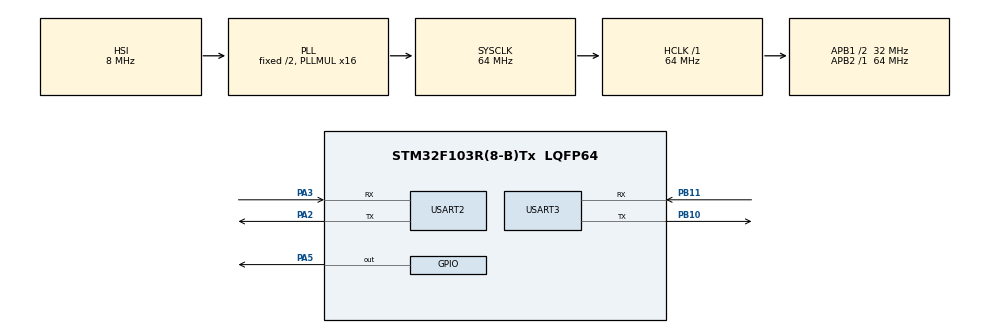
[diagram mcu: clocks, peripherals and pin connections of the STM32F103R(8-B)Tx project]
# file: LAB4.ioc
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Mcu.Family=STM32F1
Mcu.Name=STM32F103R(8-B)Tx
Mcu.Package=LQFP64
NVIC.PriorityGroup=NVIC_PRIORITYGROUP_4
NVIC.USART3_IRQn=true\:0\:0\:false\:false\:true\:true\:true
PA13.Mode=Serial_Wire
PA13.Signal=SYS_JTMS-SWDIO
PA14.Mode=Serial_Wire
PA14.Signal=SYS_JTCK-SWCLK
PA2.Mode=Asynchronous
PA2.Signal=USART2_TX
PA3.Mode=Asynchronous
PA3.Signal=USART2_RX
PA5.Signal=GPIO_Output
PB10.Mode=Asynchronous
PB10.Signal=USART3_TX
PB11.Mode=Asynchronous
PB11.Signal=USART3_RX
ProjectManager.HeapSize=0x200
ProjectManager.StackSize=0x400
ProjectManager.TargetToolchain=STM32CubeIDE
RCC.AHBFreq_Value=64000000
RCC.APB1CLKDivider=RCC_HCLK_DIV2
RCC.APB1Freq_Value=32000000
RCC.APB1TimFreq_Value=64000000
RCC.APB2Freq_Value=64000000
RCC.APB2TimFreq_Value=64000000
RCC.HCLKFreq_Value=64000000
RCC.PLLMUL=RCC_PLL_MUL16
RCC.SYSCLKFreq_VALUE=64000000
RCC.SYSCLKSource=RCC_SYSCLKSOURCE_PLLCLK
RCC.USBFreq_Value=64000000
USART2.VirtualMode=VM_ASYNC
USART3.VirtualMode=VM_ASYNC
VP_TIM4_VS_ClockSourceINT.Mode=Internal
board=custom

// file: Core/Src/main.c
/* USER CODE BEGIN Header */
/**
  ******************************************************************************
  * @file           : main.c
  * @brief          : Main program body
  ******************************************************************************
  * @attention
  *
  * <h2><center>&copy; Copyright (c) 2020 STMicroelectronics.
  * All rights reserved.</center></h2>
  *
  * This software component is licensed by ST under BSD 3-Clause license,
  * the "License"; You may not use this file except in compliance with the
  * License. You may obtain a copy of the License at:
  *                        opensource.org/licenses/BSD-3-Clause
  *
  ******************************************************************************
  */
/* USER CODE END Header */

#include "main.h"

TIM_HandleTypeDef htim4;

UART_HandleTypeDef huart2;
UART_HandleTypeDef huart3;

/* USER CODE BEGIN PV */

uint8_t cliBufferTx[240];
uint8_t cliBufferRx[20];
uint8_t test[20];
uint8_t word[20];
uint8_t enter[2];
uint8_t next = '>';
char leds[] = "leds";
char query[] = "query";
char help[] = "help";
char timer[] = "timer";

/* USER CODE END PV */

void SystemClock_Config(void);
static void MX_GPIO_Init(void);
static void MX_TIM4_Init(void);
static void MX_USART3_UART_Init(void);
static void MX_USART2_UART_Init(void);

/* USER CODE BEGIN 0 */
volatile uint32_t count = 0;
/* USER CODE END 0 */

int main(void)
{
  /* USER CODE BEGIN 1 */
	_Bool status = 0;
  /* USER CODE END 1 */

  /* MCU Configuration--------------------------------------------------------*/

  /* Reset of all peripherals, Initializes the Flash interface and the Systick. */
  HAL_Init();

  /* Configure the system clock */
  SystemClock_Config();

  /* Initialize all configured peripherals */
  MX_GPIO_Init();
  MX_TIM4_Init();
  MX_USART3_UART_Init();
  MX_USART2_UART_Init();
  /* USER CODE BEGIN 2 */
  uint16_t timecount;

  /* USER CODE END 2 */

  /* Infinite loop */
  /* USER CODE BEGIN WHILE */

  strcpy((char*)cliBufferTx, "Type 'leds' to turn on/off LED, Type 'query' for state of LED, Type 'timer' for timing test code, 'help' for help\r\n>");
  HAL_UART_Transmit ( &huart3, cliBufferTx, strlen((char*) cliBufferTx), 1000);
  memset(cliBufferTx, 0, sizeof(cliBufferTx));
  HAL_TIM_Base_Start(&htim4);
  int i = 0;
  while (1)
  {
    /* USER CODE END WHILE */

    /* USER CODE BEGIN 3 */

	  if((HAL_UART_Receive( &huart3, cliBufferRx, 1, 1000) == HAL_OK))
	 	  {

		  	  //char echo = (char*) cliBufferRx[0];
		  	 HAL_UART_Transmit ( &huart3, cliBufferRx, 1, 1000);

		  	 if((strcmp((char*)cliBufferRx[0], '\r')) != 0)
		  	 {
		  		 cliBufferTx[i] = cliBufferRx[0];
		  		 i++;
		  	 }

	 		 if((strcmp((char*)cliBufferRx[0], '\r')) == 0)
	 		 {
	 			//HAL_GPIO_TogglePin(GPIOA, GPIO_PIN_5);
	 			enter[0] = '\r';
	 			enter[1] = '\n';
	 			enter[2] = '>';
	 			HAL_UART_Transmit ( &huart3, enter, 3, 1000);

	 			 i = 0;
				 strcpy((char*)test, (char*)cliBufferTx);

				  if((strcmp((char*)test, (char*)leds)) == 0)
				  {
					  if(status == 0)
					  {
						  HAL_GPIO_WritePin (GPIOA, GPIO_PIN_5, GPIO_PIN_SET);
						  HAL_UART_Transmit ( &huart3, "Leds on\r\n>", 12, 1000);
						  status = 1;
						  }
					  else
					  {
						  HAL_GPIO_WritePin (GPIOA, GPIO_PIN_5, GPIO_PIN_RESET);
						  HAL_UART_Transmit ( &huart3, "Leds off\r\n>", 12, 1000);
						  status = 0;

					  }

				  }
				  else if ((strcmp((char*)test, (char*)query)) == 0)
				  {
					  if(status == 0)
					  {
						  HAL_UART_Transmit ( &huart3, "Led is turned off\r\n>", 20, 1000);
					  }
					  else
					  {
						  HAL_UART_Transmit ( &huart3, "Led is turned on\r\n>", 20, 1000);
					  }

				  }
				  else if ((strcmp((char*)test, (char*)help)) == 0)
				  {
					  strcpy((char*)cliBufferTx, "Type 'leds' to turn on/off LED, Type 'query' for state of LED, Type 'timer' for timing test code, 'help' for help\r\n"
							  "Make sure all small caps, The user can only write/read four "
							  "letters at a time make sure thier correctly spelled.\r\n>");
					  HAL_UART_Transmit ( &huart3, cliBufferTx, strlen((char*) cliBufferTx), 1000);

				  }
				  else if ((strcmp((char*)test, (char*)timer)) == 0)
				  {
					  averageTimeTester();
				  }
				  else
				  {
					  strcpy((char*)cliBufferTx, "Wrong word, type 'help' \r\n>");
					  HAL_UART_Transmit ( &huart3, cliBufferTx, strlen((char*) cliBufferTx), 1000);
				  }

				  memset(cliBufferTx, 0, sizeof(cliBufferTx));

			  }
	 	  }

  }
  /* USER CODE END 3 */
}

void SystemClock_Config(void)
{
  RCC_OscInitTypeDef RCC_OscInitStruct = {0};
  RCC_ClkInitTypeDef RCC_ClkInitStruct = {0};

  /** Initializes the CPU, AHB and APB busses clocks
  */
  RCC_OscInitStruct.OscillatorType = RCC_OSCILLATORTYPE_HSI;
  RCC_OscInitStruct.HSIState = RCC_HSI_ON;
  RCC_OscInitStruct.HSICalibrationValue = RCC_HSICALIBRATION_DEFAULT;
  RCC_OscInitStruct.PLL.PLLState = RCC_PLL_ON;
  RCC_OscInitStruct.PLL.PLLSource = RCC_PLLSOURCE_HSI_DIV2;
  RCC_OscInitStruct.PLL.PLLMUL = RCC_PLL_MUL16;
  if (HAL_RCC_OscConfig(&RCC_OscInitStruct) != HAL_OK)
  {
    Error_Handler();
  }
  /** Initializes the CPU, AHB and APB busses clocks
  */
  RCC_ClkInitStruct.ClockType = RCC_CLOCKTYPE_HCLK|RCC_CLOCKTYPE_SYSCLK
                              |RCC_CLOCKTYPE_PCLK1|RCC_CLOCKTYPE_PCLK2;
  RCC_ClkInitStruct.SYSCLKSource = RCC_SYSCLKSOURCE_PLLCLK;
  RCC_ClkInitStruct.AHBCLKDivider = RCC_SYSCLK_DIV1;
  RCC_ClkInitStruct.APB1CLKDivider = RCC_HCLK_DIV2;
  RCC_ClkInitStruct.APB2CLKDivider = RCC_HCLK_DIV1;

  if (HAL_RCC_ClockConfig(&RCC_ClkInitStruct, FLASH_LATENCY_2) != HAL_OK)
  {
    Error_Handler();
  }
}

static void MX_TIM4_Init(void)
{

  TIM_ClockConfigTypeDef sClockSourceConfig = {0};
  TIM_MasterConfigTypeDef sMasterConfig = {0};

  htim4.Instance = TIM4;
  htim4.Init.Prescaler = 0;
  htim4.Init.CounterMode = TIM_COUNTERMODE_UP;
  htim4.Init.Period = 0;
  htim4.Init.ClockDivision = TIM_CLOCKDIVISION_DIV1;
  htim4.Init.AutoReloadPreload = TIM_AUTORELOAD_PRELOAD_DISABLE;
  if (HAL_TIM_Base_Init(&htim4) != HAL_OK)
  {
    Error_Handler();
  }
  sClockSourceConfig.ClockSource = TIM_CLOCKSOURCE_INTERNAL;
  if (HAL_TIM_ConfigClockSource(&htim4, &sClockSourceConfig) != HAL_OK)
  {
    Error_Handler();
  }
  sMasterConfig.MasterOutputTrigger = TIM_TRGO_RESET;
  sMasterConfig.MasterSlaveMode = TIM_MASTERSLAVEMODE_DISABLE;
  if (HAL_TIMEx_MasterConfigSynchronization(&htim4, &sMasterConfig) != HAL_OK)
  {
    Error_Handler();
  }

}

static void MX_USART2_UART_Init(void)
{

  huart2.Instance = USART2;
  huart2.Init.BaudRate = 115200;
  huart2.Init.WordLength = UART_WORDLENGTH_8B;
  huart2.Init.StopBits = UART_STOPBITS_1;
  huart2.Init.Parity = UART_PARITY_NONE;
  huart2.Init.Mode = UART_MODE_TX_RX;
  huart2.Init.HwFlowCtl = UART_HWCONTROL_NONE;
  huart2.Init.OverSampling = UART_OVERSAMPLING_16;
  if (HAL_UART_Init(&huart2) != HAL_OK)
  {
    Error_Handler();
  }

}

static void MX_USART3_UART_Init(void)
{

  huart3.Instance = USART3;
  huart3.Init.BaudRate = 115200;
  huart3.Init.WordLength = UART_WORDLENGTH_8B;
  huart3.Init.StopBits = UART_STOPBITS_1;
  huart3.Init.Parity = UART_PARITY_NONE;
  huart3.Init.Mode = UART_MODE_TX_RX;
  huart3.Init.HwFlowCtl = UART_HWCONTROL_NONE;
  huart3.Init.OverSampling = UART_OVERSAMPLING_16;
  if (HAL_UART_Init(&huart3) != HAL_OK)
  {
    Error_Handler();
  }

}

static void MX_GPIO_Init(void)
{
  GPIO_InitTypeDef GPIO_InitStruct = {0};

  /* GPIO Ports Clock Enable */
  __HAL_RCC_GPIOA_CLK_ENABLE();
  __HAL_RCC_GPIOB_CLK_ENABLE();

  /*Configure GPIO pin Output Level */
  HAL_GPIO_WritePin(GPIOA, GPIO_PIN_5, GPIO_PIN_RESET);

  /*Configure GPIO pin : PA5 */
  GPIO_InitStruct.Pin = GPIO_PIN_5;
  GPIO_InitStruct.Mode = GPIO_MODE_OUTPUT_PP;
  GPIO_InitStruct.Pull = GPIO_NOPULL;
  GPIO_InitStruct.Speed = GPIO_SPEED_FREQ_LOW;
  HAL_GPIO_Init(GPIOA, &GPIO_InitStruct);

}

/* USER CODE BEGIN 4 */

void averageTimeTester()
{

	int a = 0;
	int16_t add32Start, add32Stop;
	int32_t add32 = 0;
	int16_t add64Start, add64Stop;
	int32_t add64 = 0;
	int16_t mult32Start, mult32Stop;
	int32_t mult32 = 0;
	int16_t mult64Start, mult64Stop;
	int32_t mult64 = 0;
	int16_t div32Start, div32Stop;
	int32_t div32 = 0;
	int16_t div64Start, div64Stop;
	int32_t div64 = 0;
	int16_t struct8Start, struct8Stop;
	int32_t struct8 = 0;
	int16_t struct128Start, struct128Stop;
	int32_t struct128 = 0;
	int16_t struct1024Start, struct1024Stop;
	int32_t struct1024 = 0;

	for(int i = 0; i < 100; i++)
	{
		int32_t z = srand(time(0));
		int32_t v = srand(time(0));

		add32Start = start_time();
		a = add_32(z, v);
		add32Stop = stop_time(add32Start);
		add32 = add32 + add32Stop;

		add64Start = start_time();
		a = add_64(z, v);
		add64Stop = stop_time(add64Start);
		add64 = add64 + add64Stop;

		mult32Start = start_time();
		a = multiply_32(z, v);
		mult32Stop = stop_time(mult32Start);
		mult32 = mult32 + mult32Stop;

		mult64Start = start_time();
		a = multiply_64(z, v);
		mult64Stop = stop_time(mult64Start);
		mult64 = mult64 + mult64Stop;

		div32Start = start_time();
		a = divide_32(z, v);
		div32Stop = stop_time(div32Start);
		div32 = div32 + div32Stop;

		div64Start = start_time();
		a = divide_64(z, v);
		div64Stop = stop_time(div64Start);
		div64 = div64 + div64Stop;

		struct8Start = start_time();
		structeight_Copy();
		struct8Stop = stop_time(struct8Start);
		struct8 = struct8 + struct8Stop;

		struct128Start = start_time();
		structonetwentyeight_Copy();
		struct128Stop = stop_time(struct128Start);
		struct128 = struct128 + struct128Stop;

		struct1024Start = start_time();
	    structkilo_Copy();
		struct1024Stop = stop_time(struct1024Start);
		struct1024 = struct1024 + struct1024Stop;

	}
	memset(cliBufferTx, 0, sizeof(cliBufferTx));
	sprintf(cliBufferTx, "Average timer for Add two random 32-bit integers: %d \r\n>", add32);
	HAL_UART_Transmit ( &huart3, cliBufferTx, strlen((char*) cliBufferTx), 1000);

	memset(cliBufferTx, 0, sizeof(cliBufferTx));
	sprintf(cliBufferTx, "Average timer for Add two random 64-bit integers: %d \r\n>", add64);
	HAL_UART_Transmit ( &huart3, cliBufferTx, strlen((char*) cliBufferTx), 1000);

	memset(cliBufferTx, 0, sizeof(cliBufferTx));
	sprintf(cliBufferTx, "Average timer for multiply two random 32-bit integers: %d \r\n>", mult32);
	HAL_UART_Transmit ( &huart3, cliBufferTx, strlen((char*) cliBufferTx), 1000);

	memset(cliBufferTx, 0, sizeof(cliBufferTx));
	sprintf(cliBufferTx, "Average timer for multiply two random 64-bit integers: %d \r\n>", mult64);
	HAL_UART_Transmit ( &huart3, cliBufferTx, strlen((char*) cliBufferTx), 1000);

	memset(cliBufferTx, 0, sizeof(cliBufferTx));
	sprintf(cliBufferTx, "Average timer for divide two random 32-bit integers: %d \r\n>", div32);
	HAL_UART_Transmit ( &huart3, cliBufferTx, strlen((char*) cliBufferTx), 1000);

	memset(cliBufferTx, 0, sizeof(cliBufferTx));
	sprintf(cliBufferTx, "Average timer for divide two random 64-bit integers: %d \r\n>", div64);
	HAL_UART_Transmit ( &huart3, cliBufferTx, strlen((char*) cliBufferTx), 1000);

	memset(cliBufferTx, 0, sizeof(cliBufferTx));
	sprintf(cliBufferTx, "Average timer for copy an 8-byte struct using the assignment operator: %d \r\n>", struct8);
	HAL_UART_Transmit ( &huart3, cliBufferTx, strlen((char*) cliBufferTx), 1000);

	memset(cliBufferTx, 0, sizeof(cliBufferTx));
	sprintf(cliBufferTx, "Average timer for copy a 128-byte struct using the assignment operator: %d \r\n>", struct128);
	HAL_UART_Transmit ( &huart3, cliBufferTx, strlen((char*) cliBufferTx), 1000);

	memset(cliBufferTx, 0, sizeof(cliBufferTx));
	sprintf(cliBufferTx, "Average timer for copy a 1024-byte struct using the assignment operator: %d \r\n>", struct1024);
	HAL_UART_Transmit ( &huart3, cliBufferTx, strlen((char*) cliBufferTx), 1000);

}

/* USER CODE END 4 */

void Error_Handler(void)
{
}

/************************ (C) COPYRIGHT STMicroelectronics *****END OF FILE****/
